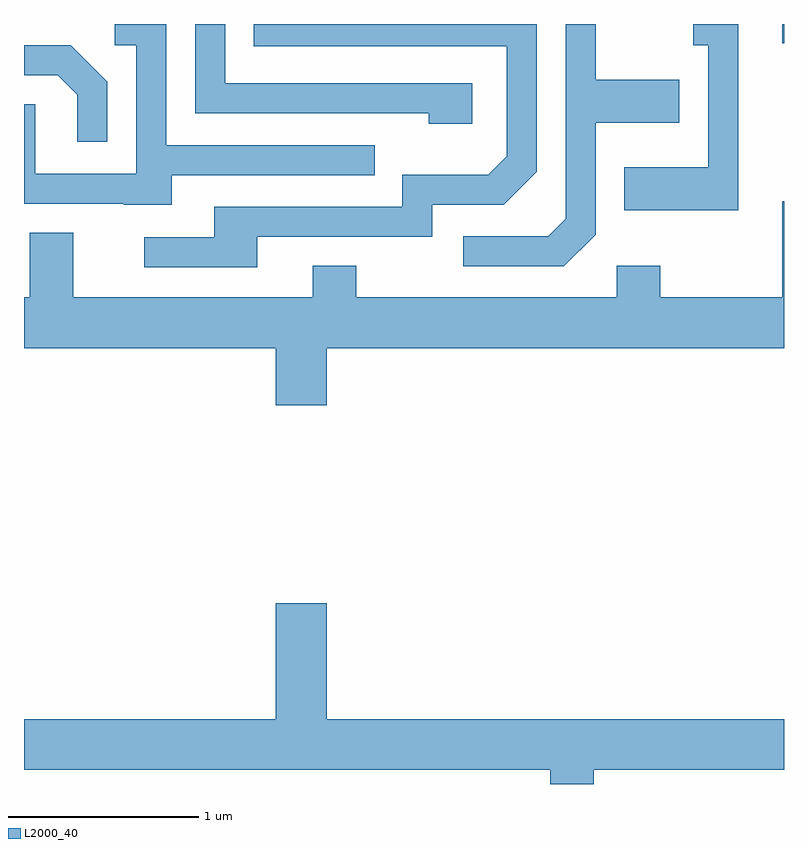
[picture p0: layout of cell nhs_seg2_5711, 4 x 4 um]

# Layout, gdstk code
import gdstk
lib = gdstk.Library(unit=1e-6, precision=1e-09)
def R(c, l, rs):  # rectangles x0, y0, x1, y1
    for r in rs: c.add(gdstk.rectangle(r[:2], r[2:], *l))
def P(c, l, *ps):  # polygons
    for p in ps: c.add(gdstk.Polygon(p, *l))
L2000_40 = (2000, 40)

nhs_seg2_5711 = lib.new_cell('nhs_seg2_5711')
R(nhs_seg2_5711, L2000_40, [(357.601,1047.701,357.611,1047.802)])
P(nhs_seg2_5711, L2000_40, [(355.969,1047.489),(354.669,1047.489),(354.669,1047.802),(354.511,1047.802),(354.511,1047.331),(355.741,1047.331),(355.741,1047.276),(355.969,1047.276)],
  [(354.839,1046.681),(355.759,1046.681),(355.759,1046.851),(356.137,1046.851),(356.309,1047.024),(356.309,1047.802),(354.821,1047.802),(354.821,1047.686),(356.151,1047.686),(356.151,1047.107),(356.054,1047.009),(355.601,1047.009),(355.601,1046.839),(354.611,1046.839),(354.611,1046.679),(354.243,1046.679),(354.243,1046.521),(354.839,1046.521)],
  [(357.369,1047.802),(357.133,1047.802),(357.133,1047.691),(357.211,1047.691),(357.211,1047.049),(356.771,1047.049),(356.771,1046.821),(357.369,1046.821)],
  [(356.619,1046.694),(356.619,1047.281),(357.059,1047.281),(357.059,1047.509),(356.619,1047.509),(356.619,1047.802),(356.461,1047.802),(356.461,1046.777),(356.369,1046.684),(355.923,1046.684),(355.923,1046.526),(356.452,1046.526)],
  [(354.389,1047.006),(355.458,1047.006),(355.458,1047.164),(354.359,1047.164),(354.359,1047.802),(354.088,1047.802),(354.088,1047.691),(354.201,1047.691),(354.201,1047.014),(353.669,1047.014),(353.669,1047.379),(353.611,1047.379),(353.611,1046.856),(354.135,1046.856),(354.135,1046.851),(354.389,1046.851)],
  [(354.049,1047.497),(353.857,1047.689),(353.611,1047.689),(353.611,1047.531),(353.789,1047.531),(353.891,1047.429),(353.891,1047.183),(354.049,1047.183)],
  [(355.204,1046.096),(357.611,1046.096),(357.611,1046.869),(357.601,1046.869),(357.601,1046.364),(356.959,1046.364),(356.959,1046.529),(356.731,1046.529),(356.731,1046.364),(355.359,1046.364),(355.359,1046.529),(355.131,1046.529),(355.131,1046.364),(353.869,1046.364),(353.869,1046.704),(353.641,1046.704),(353.641,1046.364),(353.611,1046.364),(353.611,1046.096),(354.936,1046.096),(354.936,1045.796),(355.204,1045.796)],
  [(356.609,1043.876),(357.611,1043.876),(357.611,1044.144),(355.204,1044.144),(355.204,1044.754),(354.936,1044.754),(354.936,1044.144),(353.611,1044.144),(353.611,1043.876),(356.381,1043.876),(356.381,1043.802),(356.609,1043.802)])

lib.write_gds('nhs_seg2_5711.gds')
